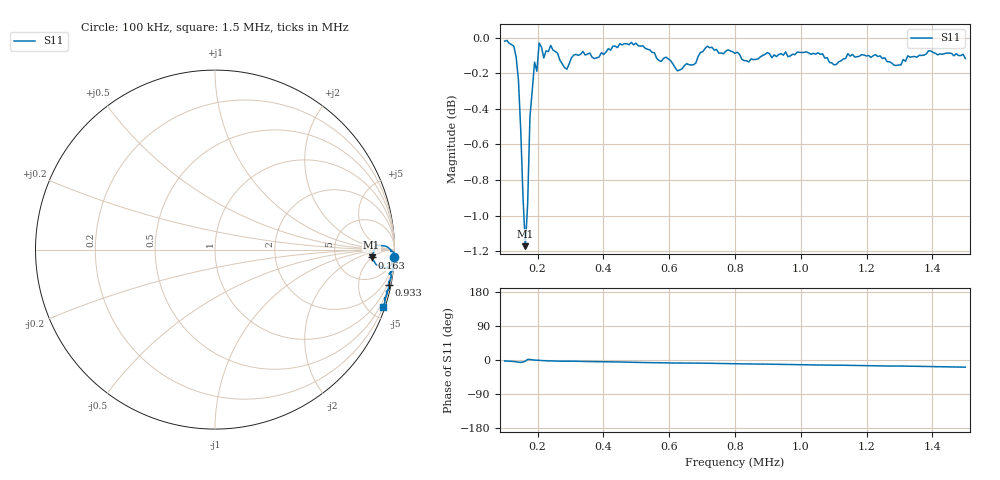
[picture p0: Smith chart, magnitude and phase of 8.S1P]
!Agilent Technologies,E5071C,MY46100305,A.07.02
!Date: Fri Jan 01 01:40:05 1988
!Data & Calibration Information:
!Freq	S11:SOLT1(ON)
# Hz S MA R 50
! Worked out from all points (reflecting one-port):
!   201 points, 100 kHz to 1.5 MHz, reference 50 ohm
!   lowest |S11| = -1.2 dB at 163 kHz (marker M1), VSWR 14.85, Z = 652 - j242 ohm
!   phase of S11 starts at -2 deg and turns -16 deg over the sweep
!   S11 on the Smith chart (normalised r, x): 100 kHz: 3, -48; 163 kHz: 13, -5; 933 kHz: 0.54, -9.90; 1.5 MHz: 0.25, -6.00
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100000  0.9978 -2.4
135000  0.9876 -4.7
142000  0.973 -5.8
149000  0.942 -6.3
156000  0.9016 -5.3
163000  0.8738 -2.9
170000  0.898 1.6
177000  0.9503 1.2
191000  0.9844 -0.4
198000  0.9785 -0.6
205000  0.9966 -0.8
219000  0.987 -1.9
233000  0.991 -2.6
240000  0.995 -2.2
275000  0.9833 -3.2
296000  0.9831 -2.9
450000  0.9961 -5.3
555000  0.9904 -7.4
625000  0.9788 -7.8
681000  0.9837 -7.8
716000  0.9945 -8.6
800000  0.9899 -10.0
933000  0.9892 -11.5
975000  0.9894 -11.9
1080000  0.9872 -13.7
1150000  0.9881 -14.2
1325000  0.9883 -16.3
1500000  0.9866 -18.9
